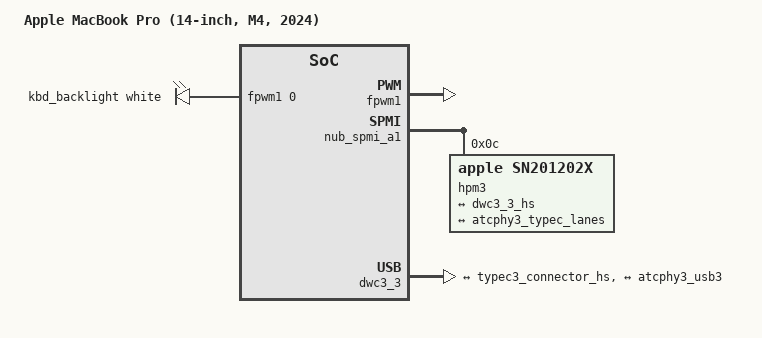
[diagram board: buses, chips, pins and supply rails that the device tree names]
// SPDX-License-Identifier: GPL-2.0+ OR MIT
/*
 * Apple MacBook Pro (14-inch, M4, 2024)
 *
 * target-type: J604
 *
 * Copyright The Asahi Linux Contributors
 */

/dts-v1/;

#include "t8132.dtsi"
#include "t8132-jxxx.dtsi"
#include <dt-bindings/leds/common.h>

/ {
	compatible = "apple,j604", "apple,t8132", "apple,arm-platform";
	model = "Apple MacBook Pro (14-inch, M4, 2024)";

	led-controller {
		compatible = "pwm-leds";
		led-0 {
			pwms = <&fpwm1 0 40000>;
			label = "kbd_backlight";
			function = LED_FUNCTION_KBD_BACKLIGHT;
			color = <LED_COLOR_ID_WHITE>;
			max-brightness = <255>;
			default-state = "keep";
		};
	};
};

&fpwm1 {
	status = "okay";
};

/*
 * Add the additional USB type C port
 */

&nub_spmi_a1 {
	hpm3: usb-pd@c {
		compatible = "apple,sn201202x";
		reg = <0xc SPMI_USID>;
		interrupts = <11 IRQ_TYPE_EDGE_RISING>,
			<13 IRQ_TYPE_EDGE_RISING>,
			<17 IRQ_TYPE_EDGE_RISING>,
			<19 IRQ_TYPE_EDGE_RISING>;
		interrupt-names = "irq", "select", "sleep", "wake";

		typec3: connector {
			label = "USB-C Right";
			compatible = "usb-c-connector";
			power-role = "dual";
			data-role = "dual";

			ports {
				#address-cells = <1>;
				#size-cells = <0>;
				port@0 {
					reg = <0>;
					typec3_connector_hs: endpoint {
						remote-endpoint = <&dwc3_3_hs>;
					};
				};
				port@1 {
					reg = <1>;
					typec3_connector_ss: endpoint {
						remote-endpoint = <&atcphy3_typec_lanes>;
					};
				};
			};
		};
	};
};

&dwc3_3 {
	ports {
		#address-cells = <1>;
		#size-cells = <0>;

		port@0 {
			reg = <0>;
			dwc3_3_hs: endpoint {
				remote-endpoint = <&typec3_connector_hs>;
			};
		};
		port@1 {
			reg = <1>;
			dwc3_3_ss: endpoint {
				remote-endpoint = <&atcphy3_usb3>;
			};
		};
	};
};

&atcphy3 {
	ports {
		#address-cells = <1>;
		#size-cells = <0>;

		port@0 {
			reg = <0>;
			atcphy3_typec_lanes: endpoint {
				remote-endpoint = <&typec3_connector_ss>;
			};
		};

		port@1 {
			reg = <1>;
			atcphy3_usb3: endpoint {
				remote-endpoint = <&dwc3_3_ss>;
			};
		};
	};
};
